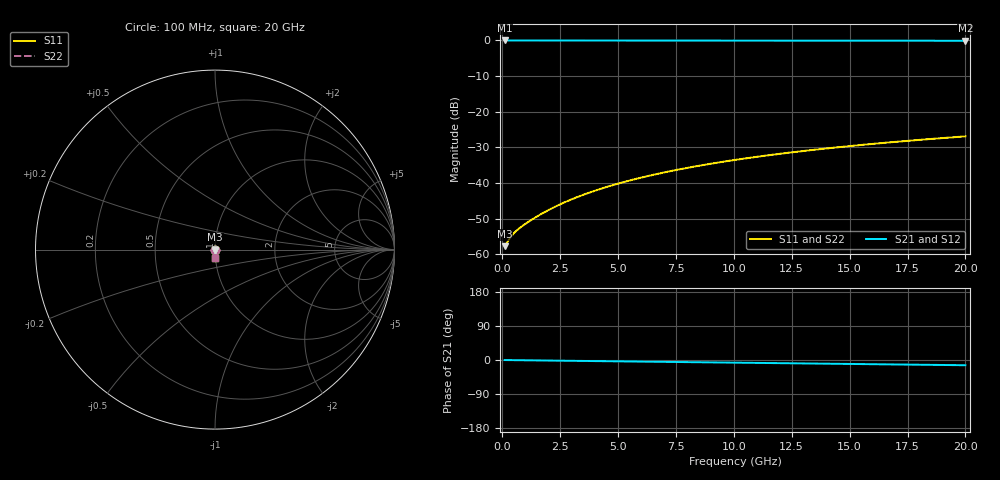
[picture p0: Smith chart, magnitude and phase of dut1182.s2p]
! Touchstone file exported from HFSS 2026.1.0
!  File:  C:/ffzhzh/LocalFiles/Ansys_Project_Files/temp_train_TMRDL_1182_1783162656_18472.aedt
!  Generated:  06:58:47 PM Jul  4, 2026
!  Design:  TMRDL
!  Project:  temp_train_TMRDL_1182_1783162656_18472
! Variables:
!  h_bsmrdl = 2um
!  h_ox = 20um
!  h_rdl = 5um
!  h_sub = 80um
!  h_tmrdl = 3.5um
!  h_tsv = 80um
!  h_via = 3um
!  l_bsmrdl = 300um
!  l_sub = 634.26um
!  l_tmrdl = 234.26um
!  m_sub = 200um
!  pitch = 25.5um
!  r_tsv = 6um
!  s_tmrdl = 10um
!  w_bsmrdl = 18um
!  w_sub = 500um
!  w_tmrdl = 23.15um
!  x_tsv_center1 = 245.835um
!  x_tsv_center2 = 563.835um
!  x_tsv_center3 = 821.245um
!  x_tsv_center4 = 1139.245um
!  x_tsv_center5 = 1396.655um
!  x_tsv_center6 = 1714.655um
# GHz S MA R 50.000000
! Terminal data exported
! Port[1] = TM_RDL1_1_T1
! Port[2] = TM_RDL1_1_T2
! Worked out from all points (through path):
!   200 points, 100 MHz to 20 GHz, reference 50 ohm
!   highest |S21| = -0.01 dB at 100 MHz (marker M1); lowest = -0.1 dB at 20 GHz (marker M2)
!   group delay of S21, straight-line fit = 1.91 ps
!   lowest |S11| = -57.7 dB at 100 MHz (marker M3), VSWR 1.00, Z = 50.1 + j0.0103 ohm
!   |S11| at or under -10 dB: start of sweep to end of sweep
!   |S22| runs from -57.7 to -26.9 dB; largest |S21 - S12| = 2.6e-15
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0.1  0.001298 4.6  0.9987 -0.1  0.9987 -0.1  0.001298 4.6
! Gamma 0 0 0 0
! Port Impedance 50 0 50 0
0.3  0.001633 3.4  0.9984 -0.3  0.9984 -0.3  0.001633 3.4
0.4  0.00181 -0.7  0.9982 -0.3  0.9982 -0.3  0.00181 -0.7
0.5  0.001972 -5.5  0.998 -0.4  0.998 -0.4  0.001972 -5.5
0.7  0.002264 -14.9  0.9978 -0.5  0.9978 -0.5  0.002264 -14.9
1.1  0.002812 -30.2  0.9975 -0.8  0.9975 -0.8  0.002812 -30.2
1.6  0.003542 -42.9  0.9974 -1.2  0.9974 -1.2  0.003543 -42.9
2.2  0.004506 -52.5  0.9971 -1.6  0.9971 -1.6  0.004506 -52.5
2.8  0.005545 -58.6  0.9969 -2.0  0.9969 -2.0  0.005545 -58.6
3.5  0.00683 -63.4  0.9967 -2.5  0.9967 -2.5  0.00683 -63.4
4.2  0.00818 -66.7  0.9963 -3.0  0.9963 -3.0  0.008181 -66.7
5  0.009791 -69.6  0.996 -3.6  0.996 -3.6  0.009792 -69.6
5.9  0.01168 -72.0  0.9955 -4.2  0.9955 -4.2  0.01168 -72.0
6.8  0.01363 -74.0  0.9951 -4.8  0.9951 -4.8  0.01363 -74.0
7.6  0.01541 -75.6  0.9947 -5.4  0.9947 -5.4  0.01541 -75.6
8.4  0.01722 -77.0  0.9942 -5.9  0.9942 -5.9  0.01723 -77.0
10.1  0.02117 -79.6  0.9934 -7.1  0.9934 -7.1  0.02117 -79.6
11.7  0.02497 -81.9  0.9927 -8.2  0.9927 -8.2  0.02497 -81.8
13.4  0.02905 -84.0  0.9919 -9.4  0.9919 -9.4  0.02905 -84.0
15  0.03292 -86.0  0.9912 -10.4  0.9912 -10.4  0.03292 -86.0
16.7  0.03705 -87.9  0.9905 -11.6  0.9905 -11.6  0.03705 -87.9
20  0.04507 -91.3  0.9891 -13.8  0.9891 -13.8  0.04507 -91.3
